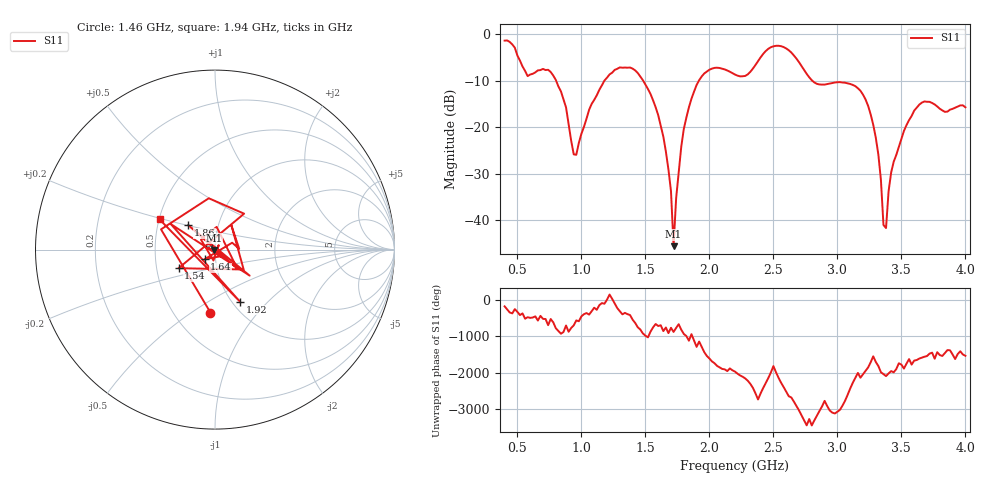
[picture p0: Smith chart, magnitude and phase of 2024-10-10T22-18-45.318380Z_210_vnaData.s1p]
! Created with skrf (http://scikit-rf.org).
# Hz S RI R 50.0
!freq ReS11 ImS11
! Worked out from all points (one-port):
!   181 points, 400 MHz to 4 GHz, reference 50 ohm
!   lowest |S11| = -45.6 dB at 1.72 GHz (marker M1), VSWR 1.01, Z = 49.5 - j0.171 ohm
!   |S11| at or under -10 dB: 802.6 MHz to 1.179 GHz (376.5 MHz wide, 38 % of centre); 1.483 GHz to 1.918 GHz (434.8 MHz wide, 25.6 % of centre); 2.804 GHz to end of sweep
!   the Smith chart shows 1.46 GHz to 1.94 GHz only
!   S11 on the Smith chart (normalised r, x): 1.46 GHz: 0.75, -0.60; 1.54 GHz: 0.65, -0.14; 1.64 GHz: 0.89, -0.10; 1.86 GHz: 0.72, +0.20; 1.92 GHz: 1.09, -0.70; 1.94 GHz: 0.50, +0.19
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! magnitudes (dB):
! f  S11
! 400 MHz  -1.4
! 760 MHz  -8.1
! 860 MHz  -14.0
! 960 MHz  -25.9
! 1.08 GHz  -15.0
! 1.3 GHz  -7.1
! 1.46 GHz  -9.1
! 1.54 GHz  -12.8
! 1.64 GHz  -22.0
! 1.7 GHz  -33.8
! 1.72 GHz  -45.6
! 1.76 GHz  -29.8
! 1.86 GHz  -13.9
! 1.92 GHz  -9.9
! 1.94 GHz  -9.1
! 2.2 GHz  -8.7
! 2.5 GHz  -2.6
! 2.66 GHz  -4.6
! 2.84 GHz  -10.7
! 3.1 GHz  -10.7
! 3.26 GHz  -17.2
! 3.32 GHz  -25.9
! 3.36 GHz  -41.0
! 3.38 GHz  -41.7
! 3.42 GHz  -29.7
! 3.56 GHz  -18.5
! 3.68 GHz  -14.5
! 4 GHz  -15.7
